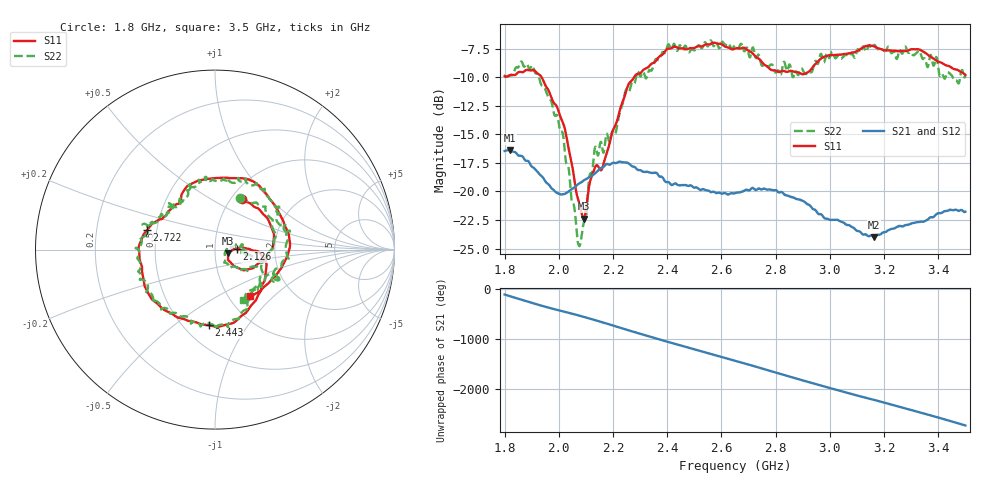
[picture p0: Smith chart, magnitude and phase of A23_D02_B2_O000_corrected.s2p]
! Created with skrf 1.9.0 (http://scikit-rf.org).
# Hz S RI R 50.0
!freq ReS11 ImS11 ReS21 ImS21 ReS12 ImS12 ReS22 ImS22
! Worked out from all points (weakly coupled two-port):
!   1601 points, 1.8 GHz to 3.5 GHz, reference 50 ohm
!   highest |S21| = -16.39 dB at 1.82 GHz (marker M1); lowest = -24.0 dB at 3.162 GHz (marker M2)
!   lowest |S11| = -22.4 dB at 2.092 GHz (marker M3), VSWR 1.16, Z = 57.8 - j2.41 ohm
!   |S11| at or under -10 dB: 1.936 GHz to 2.278 GHz (341.2 MHz wide, 16.2 % of centre)
!   |S22| runs from -24.8 to -6.8 dB; largest |S21 - S12| = 0.0027
!   S11 on the Smith chart (normalised r, x): 1.8 GHz: 1.12, +0.71; 2.126 GHz: 1.27, +0.01; 2.443 GHz: 0.66, -0.67; 2.722 GHz: 0.44, +0.11; 3.5 GHz: 1.25, -0.72
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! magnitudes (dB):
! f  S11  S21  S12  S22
! 1.8 GHz  -9.9  -16.5  -16.5  -10.0
! 1.82 GHz  -9.8  -16.4  -16.4  -9.8
! 1.902 GHz  -9.4  -17.8  -17.8  -9.0
! 1.968 GHz  -11.5  -19.5  -19.6  -12.0
! 2.021 GHz  -14.4  -20.2  -20.2  -16.2
! 2.071 GHz  -20.7  -19.4  -19.4  -24.5
! 2.084 GHz  -21.8  -19.2  -19.1  -23.9
! 2.092 GHz  -22.4  -19.0  -19.1  -22.7
! 2.126 GHz  -18.4  -18.6  -18.6  -17.7
! 2.162 GHz  -17.8  -17.9  -17.8  -16.5
! 2.21 GHz  -14.1  -17.5  -17.5  -14.8
! 2.259 GHz  -10.5  -17.6  -17.6  -11.3
! 2.367 GHz  -8.3  -18.6  -18.5  -8.5
! 2.443 GHz  -7.5  -19.5  -19.5  -7.3
! 2.65 GHz  -7.5  -20.2  -20.1  -7.2
! 2.722 GHz  -8.1  -19.8  -19.7  -7.9
! 2.81 GHz  -9.5  -20.1  -20.0  -9.4
! 2.934 GHz  -9.2  -21.4  -21.4  -9.5
! 3.162 GHz  -7.3  -24.0  -23.9  -7.2
! 3.217 GHz  -7.7  -23.4  -23.3  -7.4
! 3.329 GHz  -7.6  -22.7  -22.7  -7.7
! 3.5 GHz  -9.8  -21.8  -21.8  -9.8
